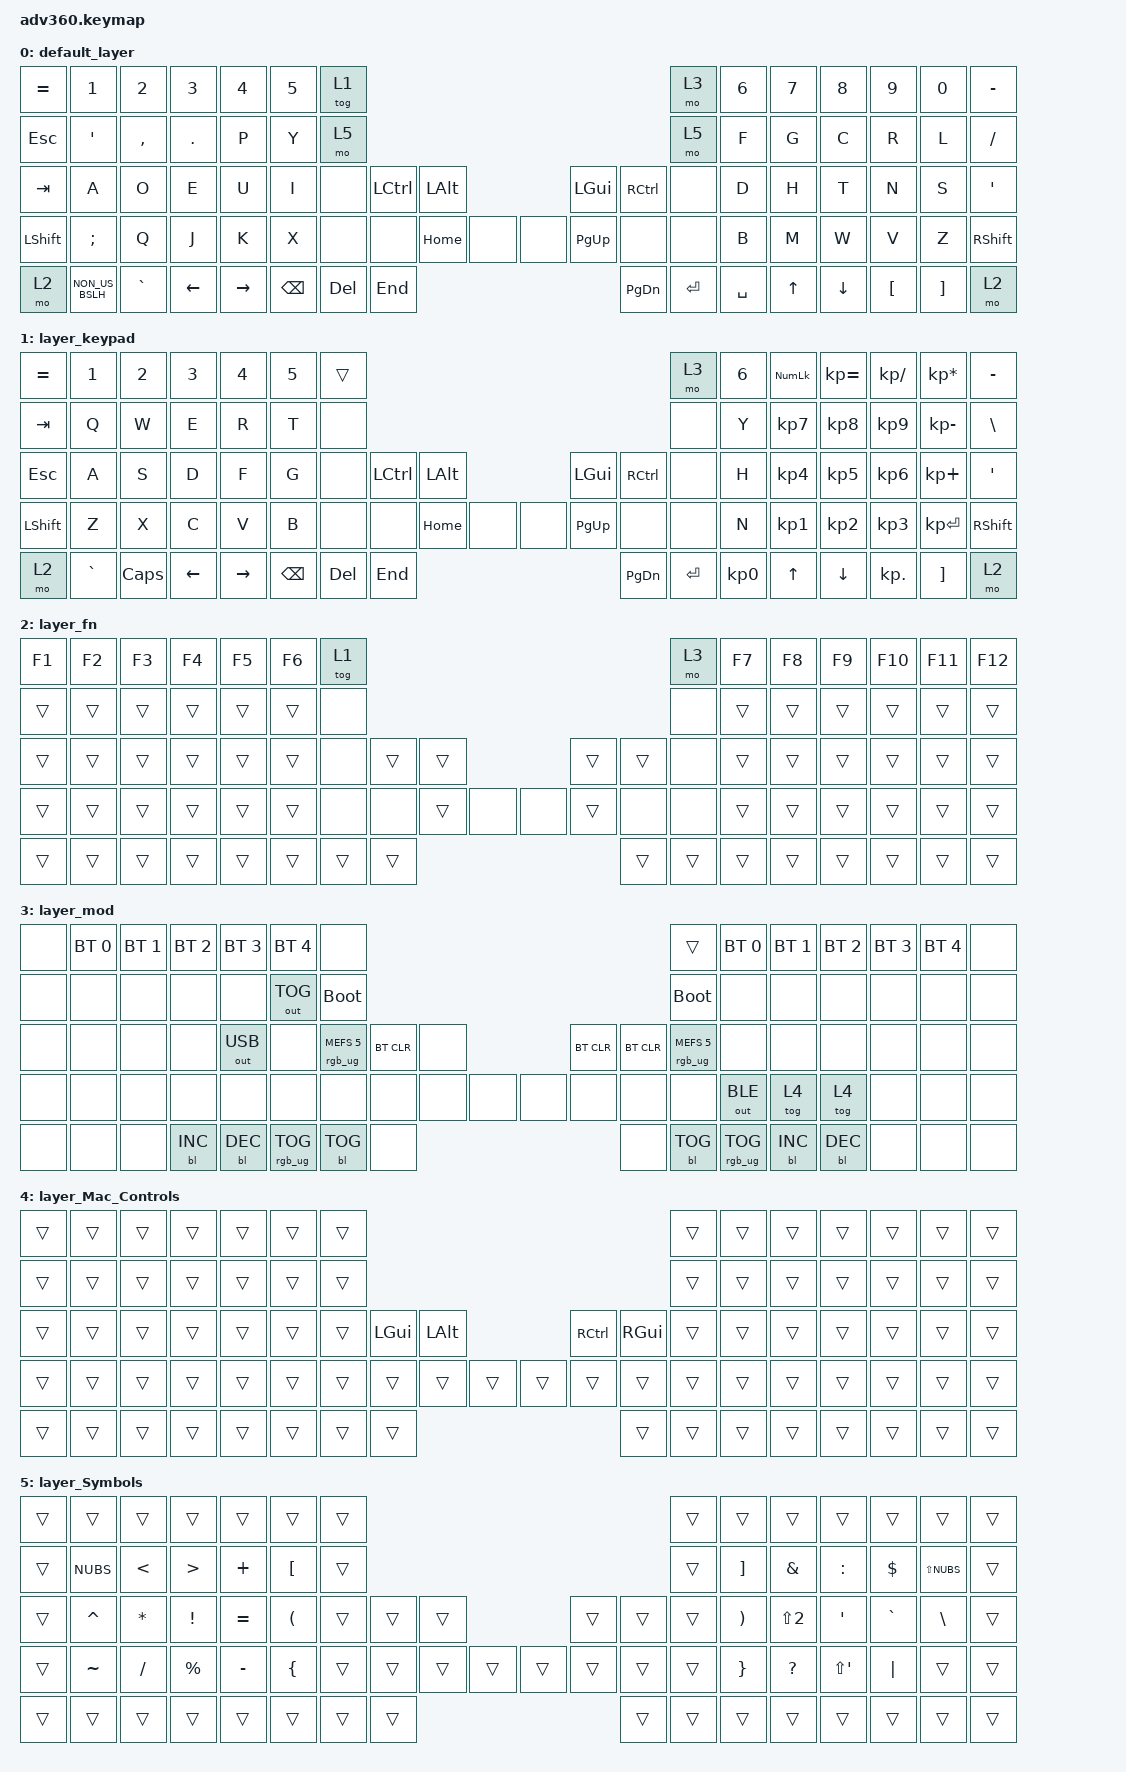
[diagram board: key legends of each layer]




/*
 * Copyright (c) 2020 The ZMK Contributors
 *
 * SPDX-License-Identifier: MIT
 */


/* THIS FILE WAS GENERATED!
 *
 * This file was generated automatically. You may or may not want to
 * edit it directly.
 */

#include <behaviors.dtsi>
#include <dt-bindings/zmk/keys.h>
#include <dt-bindings/zmk/bt.h>
#include <dt-bindings/zmk/outputs.h>
#include <dt-bindings/zmk/rgb.h>
#include <dt-bindings/zmk/backlight.h>

/ {
  behaviors {
    #include "macros.dtsi"

    hm: homerow_mods {
        compatible = "zmk,behavior-hold-tap";
        label = "HOMEROW_MODS";
        #binding-cells = <2>;
        tapping-term-ms = <200>;
        quick_tap_ms = <175>;
        flavor = "tap-preferred";
        bindings = <&kp>, <&kp>;
    };
  };

    keymap {
        compatible = "zmk,keymap";


        default_layer {
//
// QWERTY LAYOUT Key Legends:
//      0           1                   2               3               4               5                   6                           7                   8           9           10          11          12                  13                      14                  15              16              17              18              19
//  A   EQUAL       N1                  N2              N3              N4              N5                  KP                                                                                                                  Mod                     N6                  N7              N8              N9              N0              MINUS
//  B   TAB         Q                   W               E               R               T                   Mod 1                                                                                                               Mod3                    Y                   U               I               O               P               BSLH
//  C   ESC         A                   S               D               F               G                   Mod 2                       LCTRL               LALT                                LGUI        RCTRL               Mod4                    H                   J               K               L               SEMI            SQT
//  D   LSHFT       Z                   X               C               V               B                   &none                       &none               HOME        &none       &none       PG_UP       &none               &none                   N                   M               COMMA           DOT             FSLH            RSHFT
//  E   FN          GRAVE               CAPS            LEFT            RIGHT           BKSP                DEL                                             END                                 PG_DN       ENTER               SPACE                                       UP              DOWN            LBKT            RBKT            FN
//
// QWERTY Layout Key Maps
//      0           1                   2               3               4               5                   6                           7                   8           9           10          11          12                  13                      14                  15              16              17              18              19
//      &kp EQUAL   &kp N1              &kp N2          &kp N3          &kp N4          &kp N5              &tog 1                                                                                                              &mo 3                   &kp N6              &kp N7          &kp N8          &kp N9          &kp N0          &kp MINUS
//      &kp TAB     &kp Q               &kp W           &kp E           &kp R           &kp T               &none                                                                                                               &none                   &kp Y               &kp U           &kp I           &kp O           &kp P           &kp BSLH
//      &kp ESC     &kp A               &kp S           &kp D           &kp F           &kp G               &none                       &kp LCTRL           &kp LALT                            &kp LGUI        &kp RCTRL       &none                   &kp H               &kp J           &kp K           &kp L           &kp SEMI        &kp SQT
//      &kp LSHFT   &kp Z               &kp X           &kp C           &kp V           &kp B               &none                       &none               &kp HOME    &none       &none       &kp PG_UP       &none           &none                   &kp N               &kp M           &kp COMMA       &kp DOT         &kp FSLH        &kp RSHFT
//      &mo 2       &kp GRAVE           &kp CAPS        &kp LEFT        &kp RIGHT       &kp BSPC            &kp DEL                                         &kp END                             &kp PG_DN       &kp ENTER       &kp SPACE                                   &kp UP          &kp DOWN        &kp LBKT        &kp RBKT        &mo 2

//      0           1                   2               3               4               5                   6                           7                   8           9           10          11          12                  13                      14                  15              16              17              18              19
            bindings = <
        // Dvorkak Binding
        &kp EQUAL   &kp N1              &kp N2          &kp N3          &kp N4          &kp N5              &tog 1                                                                                                              &mo 3                   &kp N6              &kp N7          &kp N8          &kp N9          &kp N0      &kp MINUS
        &kp ESC     &kp SINGLE_QUOTE    &kp COMMA       &kp DOT         &kp P           &kp Y               &mo 5                                                                                                               &mo 5                   &kp F               &kp G           &kp C           &kp R           &kp L       &kp FSLH
        &kp TAB     &kp A               &kp O           &kp E           &kp U           &kp I               &none                       &kp LEFT_CONTROL    &kp LALT                            &kp LGUI    &kp RCTRL           &none                   &kp D               &kp H           &kp T           &kp N           &kp S       &kp SQT
        &kp LSHFT   &kp SEMICOLON       &kp Q           &kp J           &kp K           &kp X               &none                       &none               &kp HOME    &none       &none       &kp PG_UP   &none               &none                   &kp B               &kp M           &kp W           &kp V           &kp Z       &kp RSHFT
        &mo 2       &kp NON_US_BSLH     &kp GRAVE       &kp LEFT        &kp RIGHT       &kp BSPC            &kp DEL                                         &kp END                             &kp PG_DN   &kp ENTER           &kp SPACE                                   &kp UP          &kp DOWN        &kp LBKT        &kp RBKT        &mo 2
            >;
        };

        layer_keypad {
//      0           1                   2               3               4               5                   6                           7                   8           9           10          11          12                  13                      14                  15              16              17              18                  19
            bindings = <
        &kp EQUAL   &kp N1              &kp N2          &kp N3          &kp N4          &kp N5              &trans                                                                                                              &mo 3                   &kp N6              &kp KP_NUM      &kp KP_EQUAL    &kp KP_DIVIDE   &kp KP_MULTIPLY     &kp MINUS
        &kp TAB     &kp Q               &kp W           &kp E           &kp R           &kp T               &none                                                                                                               &none                   &kp Y               &kp KP_N7       &kp KP_N8       &kp KP_N9       &kp KP_MINUS        &kp BSLH
        &kp ESC     &kp A               &kp S           &kp D           &kp F           &kp G               &none                       &kp LCTRL           &kp LALT                            &kp LGUI    &kp RCTRL           &none                   &kp H               &kp KP_N4       &kp KP_N5       &kp KP_N6       &kp KP_PLUS         &kp SQT
        &kp LSHFT   &kp Z               &kp X           &kp C           &kp V           &kp B               &none                       &none               &kp HOME    &none       &none       &kp PG_UP   &none               &none                   &kp N               &kp KP_N1       &kp KP_N2       &kp KP_N3       &kp KP_ENTER        &kp RSHFT
        &mo 2       &kp GRAVE           &kp CAPS        &kp LEFT        &kp RIGHT       &kp BSPC            &kp DEL                                         &kp END                             &kp PG_DN   &kp ENTER           &kp KP_N0                                   &kp UP          &kp DOWN        &kp KP_DOT      &kp RBKT            &mo 2
            >;
        };

        layer_fn {
//      0           1                   2               3               4               5                   6                           7                   8           9           10          11          12                  13                      14                  15              16              17              18              19
            bindings = <
        &kp F1      &kp F2              &kp F3          &kp F4          &kp F5          &kp F6              &tog 1                                                                                                              &mo 3                   &kp F7              &kp F8          &kp F9          &kp F10         &kp F11         &kp F12
        &trans      &trans              &trans          &trans          &trans          &trans              &none                                                                                                               &none                   &trans              &trans          &trans          &trans          &trans          &trans
        &trans      &trans              &trans          &trans          &trans          &trans              &none                       &trans              &trans                              &trans      &trans              &none                   &trans              &trans          &trans          &trans          &trans          &trans
        &trans      &trans              &trans          &trans          &trans          &trans              &none                       &none               &trans      &none       &none       &trans      &none               &none                   &trans              &trans          &trans          &trans          &trans          &trans
        &trans      &trans              &trans          &trans          &trans          &trans              &trans                                          &trans                              &trans      &trans              &trans                                      &trans          &trans          &trans          &trans          &trans
            >;
        };

        layer_mod {
//      0           1                   2               3               4               5                   6                           7                   8           9           10          11          12                  13                      14                  15              16              17              18              19
            bindings = <
        &none       &bt BT_SEL 0        &bt BT_SEL 1    &bt BT_SEL 2    &bt BT_SEL 3    &bt BT_SEL 4        &none                                                                                                               &trans                  &bt BT_SEL 0        &bt BT_SEL 1    &bt BT_SEL 2    &bt BT_SEL 3    &bt BT_SEL 4    &none
        &none       &none               &none           &none           &none           &out OUT_TOG        &bootloader                                                                                                         &bootloader             &none               &none           &none           &none           &none           &none
        &none       &none               &none           &none           &out OUT_USB    &none               &rgb_ug RGB_MEFS_CMD 5      &bt BT_CLR          &none                               &bt BT_CLR  &bt BT_CLR          &rgb_ug RGB_MEFS_CMD 5  &none               &none           &none           &none           &none           &none
        &none       &none               &none           &none           &none           &none               &none                       &none               &none       &none       &none       &none       &none               &none                   &out OUT_BLE        &tog 4          &tog 4          &none           &none           &none
        &none       &none               &none           &bl BL_INC      &bl BL_DEC      &rgb_ug RGB_TOG     &bl BL_TOG                                      &none                               &none       &bl BL_TOG          &rgb_ug RGB_TOG                             &bl BL_INC      &bl BL_DEC      &none           &none           &none
            >;
        };

        layer_Mac_Controls {
//      0           1                   2               3               4               5                   6                           7                   8           9           10          11          12                  13                      14                  15              16              17              18              19
            bindings = <
        &trans      &trans              &trans          &trans          &trans          &trans              &trans                                                                                                              &trans                  &trans              &trans          &trans          &trans          &trans          &trans
        &trans      &trans              &trans          &trans          &trans          &trans              &trans                                                                                                              &trans                  &trans              &trans          &trans          &trans          &trans          &trans
        &trans      &trans              &trans          &trans          &trans          &trans              &trans                      &kp LEFT_GUI        &kp LEFT_ALT                        &kp RCTRL   &kp RGUI            &trans                  &trans              &trans          &trans          &trans          &trans          &trans
        &trans      &trans              &trans          &trans          &trans          &trans              &trans                      &trans              &trans      &trans      &trans      &trans      &trans              &trans                  &trans              &trans          &trans          &trans          &trans          &trans
        &trans      &trans              &trans          &trans          &trans          &trans              &trans                                          &trans                              &trans      &trans              &trans                                      &trans          &trans          &trans          &trans          &trans
            >;
        };

        layer_Symbols {
//      0           1                   2               3               4               5                   6                           7                   8           9           10          11          12                  13                      14                  15              16              17              18              19
            bindings = <
        &trans      &trans              &trans          &trans          &trans          &trans              &trans                                                                                                              &trans                  &trans              &trans          &trans          &trans          &trans          &trans
        &trans      &kp NUBS            &kp LT          &kp GT          &kp PLUS        &kp LEFT_BRACKET    &trans                                                                                                              &trans                  &kp RBKT            &kp AMPERSAND   &kp COLON       &kp DOLLAR      &kp LS(NUBS)    &trans
        &trans      &kp CARET           &kp ASTERISK    &kp EXCL        &kp EQUAL       &kp LPAR            &trans                      &trans              &trans                              &trans      &trans              &trans                  &kp RPAR            &kp LS(N2)      &kp SQT         &kp GRAVE       &kp BACKSLASH   &trans
        &trans      &kp TILDE           &kp FSLH        &kp PERCENT     &kp MINUS       &kp LEFT_BRACE      &trans                      &trans              &trans      &trans      &trans      &trans      &trans              &trans                  &kp RBRC            &kp QMARK       &kp LS(SQT)     &kp PIPE        &trans          &trans
        &trans      &trans              &trans          &trans          &trans          &trans              &trans                                          &trans                              &trans      &trans              &trans                                      &trans          &trans          &trans          &trans          &trans
            >;
        };

    };
};
